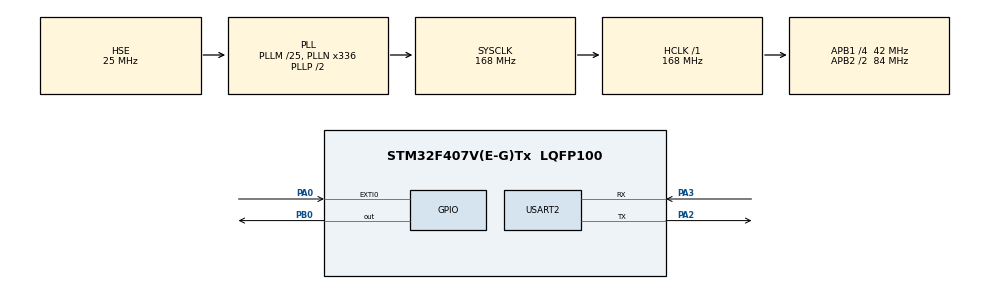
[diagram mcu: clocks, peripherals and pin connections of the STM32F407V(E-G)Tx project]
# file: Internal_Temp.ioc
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ADC1.Channel-0\#ChannelRegularConversion=ADC_CHANNEL_VREFINT
ADC1.Channel-1\#ChannelRegularConversion=ADC_CHANNEL_TEMPSENSOR
ADC1.ContinuousConvMode=ENABLE
ADC1.DMAContinuousRequests=ENABLE
ADC1.ExternalTrigConv=ADC_EXTERNALTRIGCONV_T3_TRGO
ADC1.NbrOfConversion=2
ADC1.NbrOfConversionFlag=1
ADC1.Rank-1\#ChannelRegularConversion=2
ADC1.SamplingTime-0\#ChannelRegularConversion=ADC_SAMPLETIME_480CYCLES
ADC1.SamplingTime-1\#ChannelRegularConversion=ADC_SAMPLETIME_480CYCLES
ADC1.ScanConvMode=ENABLE
ADC1.master=1
Dma.ADC1.0.Direction=DMA_PERIPH_TO_MEMORY
Dma.ADC1.0.FIFOMode=DMA_FIFOMODE_DISABLE
Dma.ADC1.0.Instance=DMA2_Stream0
Dma.ADC1.0.MemDataAlignment=DMA_MDATAALIGN_HALFWORD
Dma.ADC1.0.MemInc=DMA_MINC_ENABLE
Dma.ADC1.0.Mode=DMA_CIRCULAR
Dma.ADC1.0.PeriphDataAlignment=DMA_PDATAALIGN_HALFWORD
Dma.ADC1.0.PeriphInc=DMA_PINC_DISABLE
Dma.ADC1.0.Priority=DMA_PRIORITY_LOW
Dma.Request0=ADC1
Mcu.Family=STM32F4
Mcu.Name=STM32F407V(E-G)Tx
Mcu.Package=LQFP100
NVIC.ADC_IRQn=true\:0\:0\:false\:false\:true\:true\:true\:true
NVIC.DMA2_Stream0_IRQn=true\:0\:0\:false\:false\:true\:false\:true\:true
NVIC.EXTI0_IRQn=true\:0\:0\:false\:false\:true\:true\:true\:true
NVIC.PriorityGroup=NVIC_PRIORITYGROUP_4
NVIC.TIM4_IRQn=true\:1\:0\:true\:false\:true\:true\:true\:true
NVIC.USART2_IRQn=true\:0\:0\:false\:false\:true\:true\:true\:true
PA0-WKUP.GPIO_PuPd=GPIO_PULLDOWN
PA0-WKUP.Signal=GPXTI0
PA2.Mode=Asynchronous
PA2.Signal=USART2_TX
PA3.Mode=Asynchronous
PA3.Signal=USART2_RX
PB0.Signal=GPIO_Output
PH0-OSC_IN.Mode=HSE-External-Oscillator
PH0-OSC_IN.Signal=RCC_OSC_IN
PH1-OSC_OUT.Mode=HSE-External-Oscillator
PH1-OSC_OUT.Signal=RCC_OSC_OUT
ProjectManager.HeapSize=0x200
ProjectManager.StackSize=0x400
ProjectManager.TargetToolchain=MDK-ARM V5.32
RCC.48MHZClocksFreq_Value=84000000
RCC.AHBFreq_Value=168000000
RCC.APB1CLKDivider=RCC_HCLK_DIV4
RCC.APB1Freq_Value=42000000
RCC.APB1TimFreq_Value=84000000
RCC.APB2CLKDivider=RCC_HCLK_DIV2
RCC.APB2Freq_Value=84000000
RCC.APB2TimFreq_Value=168000000
RCC.CortexFreq_Value=168000000
RCC.HCLKFreq_Value=168000000
RCC.HSE_VALUE=25000000
RCC.HSI_VALUE=16000000
RCC.LSE_VALUE=32768
RCC.PLLM=25
RCC.PLLN=336
RCC.PLLSourceVirtual=RCC_PLLSOURCE_HSE
RCC.SYSCLKFreq_VALUE=168000000
RCC.SYSCLKSource=RCC_SYSCLKSOURCE_PLLCLK
RCC.VCOOutputFreq_Value=336000000
TIM3.AutoReloadPreload=TIM_AUTORELOAD_PRELOAD_ENABLE
TIM3.Period=59999
TIM3.Prescaler=23
TIM3.TIM_MasterOutputTrigger=TIM_TRGO_UPDATE
TIM4.Period=9999
TIM4.Prescaler=6700
USART2.VirtualMode=VM_ASYNC
VP_ADC1_TempSens_Input.Mode=IN-TempSens
VP_ADC1_Vref_Input.Mode=IN-Vrefint
VP_TIM3_VS_ClockSourceINT.Mode=Internal
VP_TIM4_VS_ClockSourceINT.Mode=Internal
board=custom

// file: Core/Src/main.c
/* USER CODE BEGIN Header */
/**
  ******************************************************************************
  * @file           : main.c
  * @brief          : Main program body
  ******************************************************************************
  * @attention
  *
  * Copyright (c) 2025 STMicroelectronics.
  * All rights reserved.
  *
  * This software is licensed under terms that can be found in the LICENSE file
  * in the root directory of this software component.
  * If no LICENSE file comes with this software, it is provided AS-IS.
  *
  ******************************************************************************
  */
/* USER CODE END Header */
#include "main.h"
#include <string.h>

#define TS_CAL1 *((uint16_t*)0x1FFF7A2C)
#define TS_CAL2 *((uint16_t*)0x1FFF7A2E)
#define VREFIN_CAL *((uint16_t*)0x1FFF7A2A)

ADC_HandleTypeDef hadc1;
DMA_HandleTypeDef hdma_adc1;

TIM_HandleTypeDef htim3;
TIM_HandleTypeDef htim4;

UART_HandleTypeDef huart2;

uint8_t UpdateEvent = 0;       // Keep if using DMA callback
uint16_t AD_RES[2];            // Keep for ADC DMA
float Temperature, V_Ref;      // Remove V_Sense
char TxBuffer[200];             // Increase size if sending more info
float Temperature, V_Ref;
volatile uint8_t measure_enable = 0;  // Flag to control measurement

float session_max[50];
uint8_t session_index = 0;

float current_max = -1000;

void SystemClock_Config(void);
static void MX_DMA_Init(void);
static void MX_GPIO_Init(void);
static void MX_ADC1_Init(void);
static void MX_TIM3_Init(void);
static void MX_USART2_UART_Init(void);
static void MX_TIM4_Init(void);

/* USER CODE BEGIN 0 */
uint8_t rx_data;
/* USER CODE END 0 */

int main(void)
{

  /* MCU Configuration--------------------------------------------------------*/

  /* Reset of all peripherals, Initializes the Flash interface and the Systick. */
  HAL_Init();

  /* Configure the system clock */
  SystemClock_Config();

  /* Initialize all configured peripherals */
  MX_DMA_Init();
  MX_GPIO_Init();
  MX_ADC1_Init();
  MX_TIM3_Init();
  MX_USART2_UART_Init();
	HAL_UART_Receive_IT(&huart2, &rx_data, 1);
  MX_TIM4_Init();

	// --- START PERIPHERALS ---
  HAL_TIM_Base_Start(&htim3);                        // Start Timer
  HAL_ADC_Start_DMA(&hadc1, (uint32_t*)AD_RES, 2);   // Start ADC + DMA

  /* Infinite loop */
  while (1)
  {
		if(measure_enable && UpdateEvent){
				// Calculate The Temperature

				float vdda = 3.3f * ((float)VREFIN_CAL / (float)AD_RES[0]);

				float ts_raw_eq_33 = (float)AD_RES[1] * (vdda / 3.3f);

				Temperature = 30.0f + (ts_raw_eq_33 - (float)TS_CAL1) * (110.0f - 30.0f) / ((float)TS_CAL2 - (float)TS_CAL1);

				if (Temperature > current_max)
				{
						current_max = Temperature;
				}

				__disable_irq();
				//int n = snprintf(TxBuffer, sizeof(TxBuffer), "Vdda=%.3fV Temperature=%.2fC\r\n", vdda, Temperature);
				int n = snprintf(TxBuffer, sizeof(TxBuffer), "Temperature=%.2fC\r\n", Temperature);

				// Send The Result To PC Over Serial Port

				//printf("%d\r\n", Temperature);
				//sprintf(TxBuffer, "TS_CAL1=%u TS_CAL2=%u VREFIN_CAL=%u\r\n", TS_CAL1, TS_CAL2, VREFIN_CAL);

				HAL_UART_Transmit(&huart2, (uint8_t*)TxBuffer, n, 100);
				__enable_irq();
				UpdateEvent = 0;
			}
  }
}

void SystemClock_Config(void)
{
  RCC_OscInitTypeDef RCC_OscInitStruct = {0};
  RCC_ClkInitTypeDef RCC_ClkInitStruct = {0};

  /** Configure the main internal regulator output voltage
  */
  __HAL_RCC_PWR_CLK_ENABLE();
  __HAL_PWR_VOLTAGESCALING_CONFIG(PWR_REGULATOR_VOLTAGE_SCALE1);

  /** Initializes the RCC Oscillators according to the specified parameters
  * in the RCC_OscInitTypeDef structure.
  */
  RCC_OscInitStruct.OscillatorType = RCC_OSCILLATORTYPE_HSE;
  RCC_OscInitStruct.HSEState = RCC_HSE_ON;
  RCC_OscInitStruct.PLL.PLLState = RCC_PLL_ON;
  RCC_OscInitStruct.PLL.PLLSource = RCC_PLLSOURCE_HSE;
  RCC_OscInitStruct.PLL.PLLM = 25;
  RCC_OscInitStruct.PLL.PLLN = 336;
  RCC_OscInitStruct.PLL.PLLP = RCC_PLLP_DIV2;
  RCC_OscInitStruct.PLL.PLLQ = 4;
  if (HAL_RCC_OscConfig(&RCC_OscInitStruct) != HAL_OK)
  {
    Error_Handler();
  }

  /** Initializes the CPU, AHB and APB buses clocks
  */
  RCC_ClkInitStruct.ClockType = RCC_CLOCKTYPE_HCLK|RCC_CLOCKTYPE_SYSCLK
                              |RCC_CLOCKTYPE_PCLK1|RCC_CLOCKTYPE_PCLK2;
  RCC_ClkInitStruct.SYSCLKSource = RCC_SYSCLKSOURCE_PLLCLK;
  RCC_ClkInitStruct.AHBCLKDivider = RCC_SYSCLK_DIV1;
  RCC_ClkInitStruct.APB1CLKDivider = RCC_HCLK_DIV4;
  RCC_ClkInitStruct.APB2CLKDivider = RCC_HCLK_DIV2;

  if (HAL_RCC_ClockConfig(&RCC_ClkInitStruct, FLASH_LATENCY_5) != HAL_OK)
  {
    Error_Handler();
  }
}

static void MX_ADC1_Init(void)
{

  ADC_ChannelConfTypeDef sConfig = {0};

  /** Configure the global features of the ADC (Clock, Resolution, Data Alignment and number of conversion)
  */
  hadc1.Instance = ADC1;
  hadc1.Init.ClockPrescaler = ADC_CLOCK_SYNC_PCLK_DIV4;
  hadc1.Init.Resolution = ADC_RESOLUTION_12B;
  hadc1.Init.ScanConvMode = ENABLE;
  hadc1.Init.ContinuousConvMode = ENABLE;
  hadc1.Init.DiscontinuousConvMode = DISABLE;
  hadc1.Init.ExternalTrigConvEdge = ADC_EXTERNALTRIGCONVEDGE_RISING;
  hadc1.Init.ExternalTrigConv = ADC_EXTERNALTRIGCONV_T3_TRGO;
  hadc1.Init.DataAlign = ADC_DATAALIGN_RIGHT;
  hadc1.Init.NbrOfConversion = 2;
  hadc1.Init.DMAContinuousRequests = ENABLE;
  hadc1.Init.EOCSelection = ADC_EOC_SINGLE_CONV;
  if (HAL_ADC_Init(&hadc1) != HAL_OK)
  {
    Error_Handler();
  }

  /** Configure for the selected ADC regular channel its corresponding rank in the sequencer and its sample time.
  */
  sConfig.Channel = ADC_CHANNEL_VREFINT;
  sConfig.Rank = 1;
  sConfig.SamplingTime = ADC_SAMPLETIME_480CYCLES;
  if (HAL_ADC_ConfigChannel(&hadc1, &sConfig) != HAL_OK)
  {
    Error_Handler();
  }

  /** Configure for the selected ADC regular channel its corresponding rank in the sequencer and its sample time.
  */
  sConfig.Channel = ADC_CHANNEL_TEMPSENSOR;
  sConfig.Rank = 2;
	sConfig.SamplingTime = ADC_SAMPLETIME_480CYCLES;
  if (HAL_ADC_ConfigChannel(&hadc1, &sConfig) != HAL_OK)
  {
    Error_Handler();
  }

}

static void MX_TIM3_Init(void)
{

  TIM_ClockConfigTypeDef sClockSourceConfig = {0};
  TIM_MasterConfigTypeDef sMasterConfig = {0};

  htim3.Instance = TIM3;
  htim3.Init.Prescaler = 23;
  htim3.Init.CounterMode = TIM_COUNTERMODE_UP;
  htim3.Init.Period = 59999;
  htim3.Init.ClockDivision = TIM_CLOCKDIVISION_DIV1;
  htim3.Init.AutoReloadPreload = TIM_AUTORELOAD_PRELOAD_ENABLE;
  if (HAL_TIM_Base_Init(&htim3) != HAL_OK)
  {
    Error_Handler();
  }
  sClockSourceConfig.ClockSource = TIM_CLOCKSOURCE_INTERNAL;
  if (HAL_TIM_ConfigClockSource(&htim3, &sClockSourceConfig) != HAL_OK)
  {
    Error_Handler();
  }
  sMasterConfig.MasterOutputTrigger = TIM_TRGO_UPDATE;
  sMasterConfig.MasterSlaveMode = TIM_MASTERSLAVEMODE_DISABLE;
  if (HAL_TIMEx_MasterConfigSynchronization(&htim3, &sMasterConfig) != HAL_OK)
  {
    Error_Handler();
  }

}

static void MX_TIM4_Init(void)
{

  TIM_ClockConfigTypeDef sClockSourceConfig = {0};
  TIM_MasterConfigTypeDef sMasterConfig = {0};

  htim4.Instance = TIM4;
  htim4.Init.Prescaler = 16799;
  htim4.Init.CounterMode = TIM_COUNTERMODE_UP;
  htim4.Init.Period = 9999;
  htim4.Init.ClockDivision = TIM_CLOCKDIVISION_DIV1;
  htim4.Init.AutoReloadPreload = TIM_AUTORELOAD_PRELOAD_DISABLE;
  if (HAL_TIM_Base_Init(&htim4) != HAL_OK)
  {
    Error_Handler();
  }
  sClockSourceConfig.ClockSource = TIM_CLOCKSOURCE_INTERNAL;
  if (HAL_TIM_ConfigClockSource(&htim4, &sClockSourceConfig) != HAL_OK)
  {
    Error_Handler();
  }
  sMasterConfig.MasterOutputTrigger = TIM_TRGO_RESET;
  sMasterConfig.MasterSlaveMode = TIM_MASTERSLAVEMODE_DISABLE;
  if (HAL_TIMEx_MasterConfigSynchronization(&htim4, &sMasterConfig) != HAL_OK)
  {
    Error_Handler();
  }

}

static void MX_USART2_UART_Init(void)
{

  huart2.Instance = USART2;
  huart2.Init.BaudRate = 115200;
  huart2.Init.WordLength = UART_WORDLENGTH_8B;
  huart2.Init.StopBits = UART_STOPBITS_1;
  huart2.Init.Parity = UART_PARITY_NONE;
  huart2.Init.Mode = UART_MODE_TX_RX;
  huart2.Init.HwFlowCtl = UART_HWCONTROL_NONE;
  huart2.Init.OverSampling = UART_OVERSAMPLING_16;
  if (HAL_UART_Init(&huart2) != HAL_OK)
  {
    Error_Handler();
  }

}

static void MX_DMA_Init(void)
{

  /* DMA controller clock enable */
  __HAL_RCC_DMA2_CLK_ENABLE();

  /* DMA interrupt init */
  /* DMA2_Stream0_IRQn interrupt configuration */
  HAL_NVIC_SetPriority(DMA2_Stream0_IRQn, 0, 0);
  HAL_NVIC_EnableIRQ(DMA2_Stream0_IRQn);

}

static void MX_GPIO_Init(void)
{
  GPIO_InitTypeDef GPIO_InitStruct = {0};

  /* GPIO Ports Clock Enable */
  __HAL_RCC_GPIOH_CLK_ENABLE();
  __HAL_RCC_GPIOA_CLK_ENABLE();
  __HAL_RCC_GPIOB_CLK_ENABLE();

  /*Configure GPIO pin Output Level */
  HAL_GPIO_WritePin(GPIOB, GPIO_PIN_0, GPIO_PIN_RESET);

  /*Configure GPIO pin : PA0 */
  GPIO_InitStruct.Pin = GPIO_PIN_0;
  GPIO_InitStruct.Mode = GPIO_MODE_IT_RISING;
  GPIO_InitStruct.Pull = GPIO_PULLDOWN;
  HAL_GPIO_Init(GPIOA, &GPIO_InitStruct);

  /*Configure GPIO pin : PB0 */
  GPIO_InitStruct.Pin = GPIO_PIN_0;
  GPIO_InitStruct.Mode = GPIO_MODE_OUTPUT_PP;
  GPIO_InitStruct.Pull = GPIO_NOPULL;
  GPIO_InitStruct.Speed = GPIO_SPEED_FREQ_LOW;
  HAL_GPIO_Init(GPIOB, &GPIO_InitStruct);

  /* EXTI interrupt init*/
  HAL_NVIC_SetPriority(EXTI0_IRQn, 0, 0);
  HAL_NVIC_EnableIRQ(EXTI0_IRQn);

}

/* USER CODE BEGIN 4 */

void HAL_TIM_PeriodElapsedCallback(TIM_HandleTypeDef *htim)
{
    if (htim->Instance == TIM4)
    {
        measure_enable = 0;  // Stop measurement
        HAL_TIM_Base_Stop_IT(&htim4);

				// STORE THE MAX OF THIS SESSION
        session_max[session_index++] = current_max;
        current_max = -1000;  // reset for next session

        sprintf(TxBuffer, "Measurement STOPPED\r\n");
        HAL_UART_Transmit(&huart2, (uint8_t*)TxBuffer, strlen(TxBuffer), 100);
    }
}

void HAL_ADC_ConvCpltCallback(ADC_HandleTypeDef* hadc)
{
    HAL_GPIO_TogglePin(GPIOB, GPIO_PIN_0); // Toggle Interrupt Rate Indicator Pin
    UpdateEvent = 1;
}

void HAL_GPIO_EXTI_Callback(uint16_t GPIO_Pin)
{
    if (GPIO_Pin == GPIO_PIN_0) // USER button (PA0)
    {
        if (!measure_enable)
        {
            measure_enable = 1;  // Enable measurement
            HAL_TIM_Base_Start_IT(&htim4); // Start 10s timer
            sprintf(TxBuffer, "Measurement STARTED\r\n");
            HAL_UART_Transmit(&huart2, (uint8_t*)TxBuffer, strlen(TxBuffer), 100);
        }
    }
}

void HAL_UART_RxCpltCallback(UART_HandleTypeDef *huart)
{
    if (huart->Instance == USART2)
    {
        if (rx_data == 'R' || rx_data=='r' || rx_data=='\n' || rx_data=='\r')
        {
						// CLEAR TERMINAL
            //HAL_UART_Transmit(&huart2, (uint8_t*)"\033[2J\033[H", 7, 100);

            for (int i = 0; i < session_index; i++)
            {
                sprintf(TxBuffer, "Session %d Max Temperature = %.2fC\r\n", i+1, session_max[i]);
                HAL_UART_Transmit(&huart2,(uint8_t*)TxBuffer,strlen(TxBuffer),100);
            }
        }
        HAL_UART_Receive_IT(&huart2, &rx_data, 1);
    }
}

/* USER CODE END 4 */

void Error_Handler(void)
{
  __disable_irq();
  while (1)
  {
  }
}
